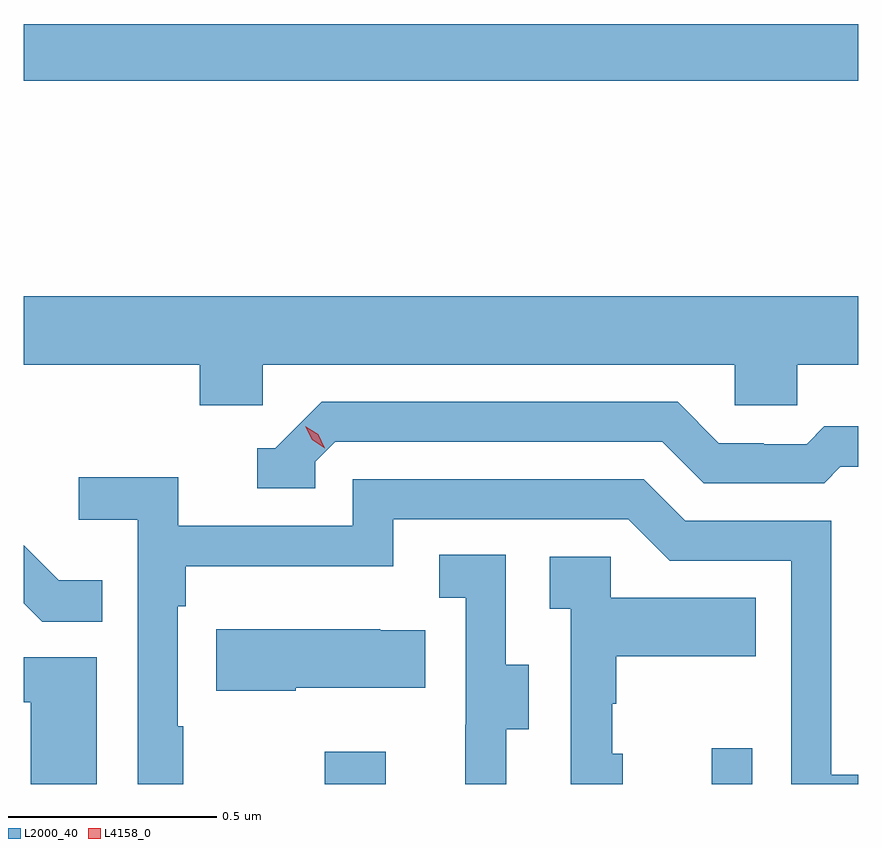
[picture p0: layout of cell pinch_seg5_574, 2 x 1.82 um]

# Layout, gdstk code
import gdstk
lib = gdstk.Library(unit=1e-6, precision=1e-09)
def R(c, l, rs):  # rectangles x0, y0, x1, y1
    for r in rs: c.add(gdstk.rectangle(r[:2], r[2:], *l))
def P(c, l, *ps):  # polygons
    for p in ps: c.add(gdstk.Polygon(p, *l))
L2000_40 = (2000, 40)
L4158_0 = (4158, 0)

pinch_seg5_574 = lib.new_cell('pinch_seg5_574')
R(pinch_seg5_574, L2000_40, [(1098.226,873.071,1098.373,873.148), (1099.154,873.071,1099.251,873.157), (1097.505,874.756,1099.505,874.892)])
P(pinch_seg5_574, L2000_40, [(1097.505,874.076),(1097.927,874.076),(1097.927,873.978),(1098.078,873.978),(1098.078,874.076),(1099.209,874.076),(1099.209,873.978),(1099.359,873.978),(1099.359,874.076),(1099.505,874.076),(1099.505,874.24),(1097.505,874.24)],
  [(1098.204,873.843),(1098.252,873.891),(1099.035,873.891),(1099.134,873.792),(1099.423,873.792),(1099.462,873.831),(1099.505,873.831),(1099.505,873.928),(1099.423,873.928),(1099.381,873.885),(1099.278,873.885),(1099.278,873.888),(1099.171,873.888),(1099.072,873.987),(1098.219,873.987),(1098.108,873.876),(1098.065,873.876),(1098.065,873.78),(1098.204,873.78)],
  [(1097.887,873.209),(1097.874,873.209),(1097.874,873.497),(1097.894,873.497),(1097.894,873.593),(1098.39,873.593),(1098.39,873.705),(1098.954,873.705),(1099.053,873.606),(1099.344,873.606),(1099.344,873.071),(1099.505,873.071),(1099.505,873.093),(1099.44,873.093),(1099.44,873.702),(1099.09,873.702),(1098.991,873.801),(1098.294,873.801),(1098.294,873.69),(1097.876,873.69),(1097.876,873.806),(1097.637,873.806),(1097.637,873.704),(1097.778,873.704),(1097.778,873.071),(1097.887,873.071)],
  [(1097.693,873.559),(1097.589,873.559),(1097.505,873.643),(1097.505,873.504),(1097.549,873.46),(1097.693,873.46)],
  [(1098.661,873.202),(1098.715,873.202),(1098.715,873.357),(1098.66,873.357),(1098.66,873.62),(1098.501,873.62),(1098.501,873.517),(1098.564,873.517),(1098.564,873.213),(1098.563,873.213),(1098.563,873.071),(1098.661,873.071)],
  [(1098.94,873.144),(1098.915,873.144),(1098.915,873.263),(1098.925,873.263),(1098.925,873.377),(1099.259,873.377),(1099.259,873.517),(1098.912,873.517),(1098.912,873.615),(1098.765,873.615),(1098.765,873.491),(1098.816,873.491),(1098.816,873.071),(1098.94,873.071)],
  [(1098.157,873.302),(1098.467,873.302),(1098.467,873.439),(1098.359,873.439),(1098.359,873.442),(1097.966,873.442),(1097.966,873.295),(1098.157,873.295)],
  [(1097.68,873.375),(1097.505,873.375),(1097.505,873.267),(1097.522,873.267),(1097.522,873.071),(1097.68,873.071)])
P(pinch_seg5_574, L4158_0, [(1098.227,873.876),(1098.196,873.896),(1098.18,873.928),(1098.18,873.928),(1098.18,873.928),(1098.211,873.909),(1098.227,873.876),(1098.227,873.876)])

lib.write_gds('pinch_seg5_574.gds')
